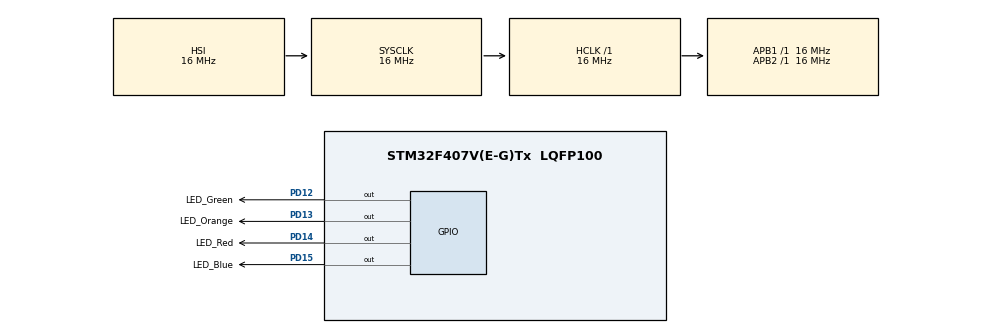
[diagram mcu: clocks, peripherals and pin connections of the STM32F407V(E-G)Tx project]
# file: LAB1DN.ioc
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Mcu.Family=STM32F4
Mcu.Name=STM32F407V(E-G)Tx
Mcu.Package=LQFP100
NVIC.PriorityGroup=NVIC_PRIORITYGROUP_4
PD12.GPIO_Label=LED_Green
PD12.Signal=GPIO_Output
PD13.GPIO_Label=LED_Orange
PD13.Signal=GPIO_Output
PD14.GPIO_Label=LED_Red
PD14.Signal=GPIO_Output
PD15.GPIO_Label=LED_Blue
PD15.Signal=GPIO_Output
ProjectManager.HeapSize=0x200
ProjectManager.StackSize=0x400
ProjectManager.TargetToolchain=STM32CubeIDE
RCC.AHBFreq_Value=16000000
RCC.APB1Freq_Value=16000000
RCC.APB2Freq_Value=16000000
RCC.CortexFreq_Value=16000000
RCC.HSE_VALUE=25000000
RCC.HSI_VALUE=16000000
RCC.LSE_VALUE=32768
RCC.SYSCLKFreq_VALUE=16000000
RCC.VCOOutputFreq_Value=192000000
board=custom

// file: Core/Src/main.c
/* USER CODE BEGIN Header */
/**
  ******************************************************************************
  * @file           : main.c
  * @brief          : Main program body
  ******************************************************************************
  * @attention
  *
  * Copyright (c) 2024 STMicroelectronics.
  * All rights reserved.
  *
  * This software is licensed under terms that can be found in the LICENSE file
  * in the root directory of this software component.
  * If no LICENSE file comes with this software, it is provided AS-IS.
  *
  ******************************************************************************
  */
/* USER CODE END Header */
#include "main.h"

/* USER CODE BEGIN PTD */
	#define LED_SWITCH_DELAY	(1000)
/* USER CODE END PTD */

/* USER CODE BEGIN PV */
	unsigned int ledN = 0;
	unsigned int cycleN = 0;
/* USER CODE END PV */

void SystemClock_Config(void);
static void MX_GPIO_Init(void);

int main(void)
{

  /* MCU Configuration--------------------------------------------------------*/

  /* Reset of all peripherals, Initializes the Flash interface and the Systick. */
  HAL_Init();

  /* Configure the system clock */
  SystemClock_Config();

  /* Initialize all configured peripherals */
  MX_GPIO_Init();

  /* Infinite loop */
  /* USER CODE BEGIN WHILE */
  while (1)
  {
	  if (cycleN == 0){
		  ledN++;
		  if (ledN > 3){
			  ledN = 0;
			  cycleN++;
		  }
	  }
	  else if (cycleN == 1) {
		  if (ledN == 0){
			  ledN = 2;
		  }
		  else if (ledN == 1){
			  ledN = 3;
		  }
		  else if (ledN == 2){
			  ledN = 1;
		  }
		  else if (ledN == 3){
			  cycleN = 0;
			  ledN = 0;
		  }
	  }

	  if (ledN == 0){
		  HAL_GPIO_WritePin(LED_Green_GPIO_Port, LED_Green_Pin, GPIO_PIN_SET);
		  HAL_Delay(LED_SWITCH_DELAY);
		  HAL_GPIO_WritePin(LED_Green_GPIO_Port, LED_Green_Pin, GPIO_PIN_RESET);
		  HAL_Delay(LED_SWITCH_DELAY);

	  }
	  else if (ledN == 1){
		  HAL_GPIO_WritePin(LED_Orange_GPIO_Port, LED_Orange_Pin, GPIO_PIN_SET);
		  HAL_Delay(LED_SWITCH_DELAY);
		  HAL_GPIO_WritePin(LED_Orange_GPIO_Port, LED_Orange_Pin, GPIO_PIN_RESET);
		  HAL_Delay(LED_SWITCH_DELAY);

	  }
	  else if (ledN == 2){
		  HAL_GPIO_WritePin(LED_Red_GPIO_Port, LED_Red_Pin, GPIO_PIN_SET);
		  HAL_Delay(LED_SWITCH_DELAY);
		  HAL_GPIO_WritePin(LED_Red_GPIO_Port, LED_Red_Pin, GPIO_PIN_RESET);
		  HAL_Delay(LED_SWITCH_DELAY);

	  }
	  else {
	  	  HAL_GPIO_WritePin(LED_Blue_GPIO_Port, LED_Blue_Pin, GPIO_PIN_SET);
	  	  HAL_Delay(LED_SWITCH_DELAY);
	  	  HAL_GPIO_WritePin(LED_Blue_GPIO_Port, LED_Blue_Pin, GPIO_PIN_RESET);
	  	  HAL_Delay(LED_SWITCH_DELAY);

	  }
    /* USER CODE END WHILE */

  }
}

void SystemClock_Config(void)
{
  RCC_OscInitTypeDef RCC_OscInitStruct = {0};
  RCC_ClkInitTypeDef RCC_ClkInitStruct = {0};

  /** Configure the main internal regulator output voltage
  */
  __HAL_RCC_PWR_CLK_ENABLE();
  __HAL_PWR_VOLTAGESCALING_CONFIG(PWR_REGULATOR_VOLTAGE_SCALE1);

  /** Initializes the RCC Oscillators according to the specified parameters
  * in the RCC_OscInitTypeDef structure.
  */
  RCC_OscInitStruct.OscillatorType = RCC_OSCILLATORTYPE_HSI;
  RCC_OscInitStruct.HSIState = RCC_HSI_ON;
  RCC_OscInitStruct.HSICalibrationValue = RCC_HSICALIBRATION_DEFAULT;
  RCC_OscInitStruct.PLL.PLLState = RCC_PLL_NONE;
  if (HAL_RCC_OscConfig(&RCC_OscInitStruct) != HAL_OK)
  {
    Error_Handler();
  }

  /** Initializes the CPU, AHB and APB buses clocks
  */
  RCC_ClkInitStruct.ClockType = RCC_CLOCKTYPE_HCLK|RCC_CLOCKTYPE_SYSCLK
                              |RCC_CLOCKTYPE_PCLK1|RCC_CLOCKTYPE_PCLK2;
  RCC_ClkInitStruct.SYSCLKSource = RCC_SYSCLKSOURCE_HSI;
  RCC_ClkInitStruct.AHBCLKDivider = RCC_SYSCLK_DIV1;
  RCC_ClkInitStruct.APB1CLKDivider = RCC_HCLK_DIV1;
  RCC_ClkInitStruct.APB2CLKDivider = RCC_HCLK_DIV1;

  if (HAL_RCC_ClockConfig(&RCC_ClkInitStruct, FLASH_LATENCY_0) != HAL_OK)
  {
    Error_Handler();
  }
}

static void MX_GPIO_Init(void)
{
  GPIO_InitTypeDef GPIO_InitStruct = {0};

  /* GPIO Ports Clock Enable */
  __HAL_RCC_GPIOD_CLK_ENABLE();

  /*Configure GPIO pin Output Level */
  HAL_GPIO_WritePin(GPIOD, LED_Green_Pin|LED_Orange_Pin|LED_Red_Pin|LED_Blue_Pin, GPIO_PIN_RESET);

  /*Configure GPIO pins : LED_Green_Pin LED_Orange_Pin LED_Red_Pin LED_Blue_Pin */
  GPIO_InitStruct.Pin = LED_Green_Pin|LED_Orange_Pin|LED_Red_Pin|LED_Blue_Pin;
  GPIO_InitStruct.Mode = GPIO_MODE_OUTPUT_PP;
  GPIO_InitStruct.Pull = GPIO_NOPULL;
  GPIO_InitStruct.Speed = GPIO_SPEED_FREQ_LOW;
  HAL_GPIO_Init(GPIOD, &GPIO_InitStruct);

}

void Error_Handler(void)
{
  __disable_irq();
  while (1)
  {
  }
}
